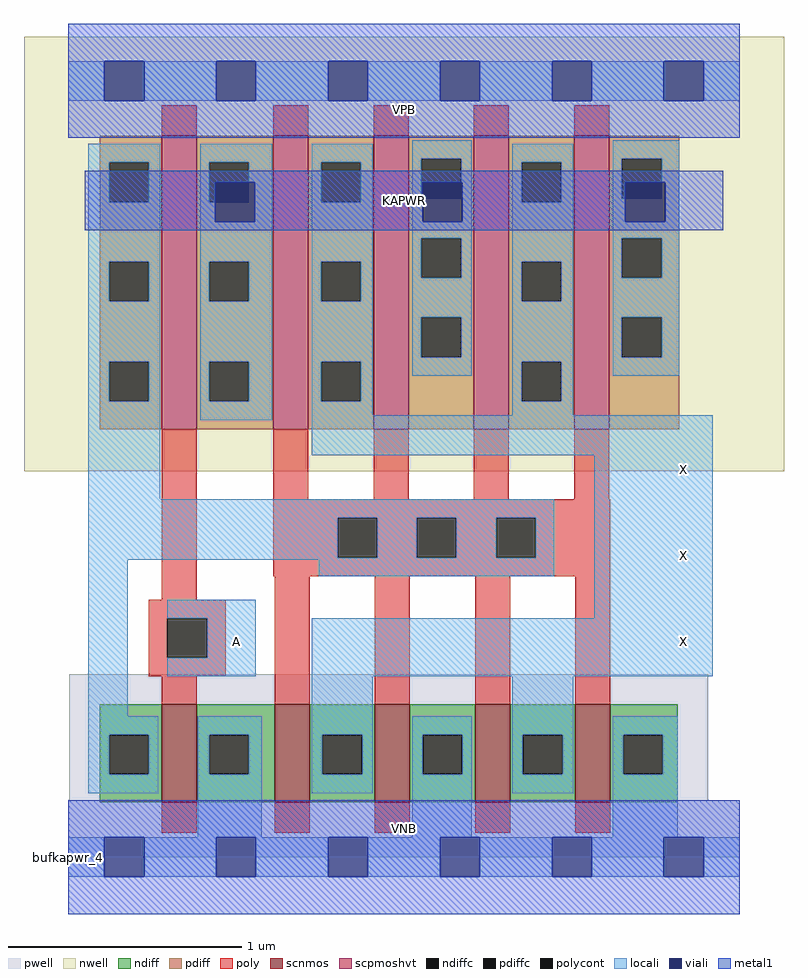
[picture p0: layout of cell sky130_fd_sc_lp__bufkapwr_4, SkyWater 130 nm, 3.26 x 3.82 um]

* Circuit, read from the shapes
.subckt sky130_fd_sc_lp__bufkapwr_4 A KAPWR VGND VNB VPB VPWR X
XM1 VGND A n1 VNB sky130_fd_pr__nfet_01v8 w=0.42 l=0.15
XM2 X n1 VGND VNB sky130_fd_pr__nfet_01v8 w=0.42 l=0.15 m=4
XM3 KAPWR A n1 VPB sky130_fd_pr__pfet_01v8_hvt w=1.26 l=0.15
XM4 X n1 KAPWR VPB sky130_fd_pr__pfet_01v8_hvt w=1.26 l=0.15 m=4
.ends

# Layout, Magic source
magic
tech sky130A
magscale 1 2
<< nwell >>
rect -38 331 614 704
<< pwell >>
rect 1 49 549 157
rect 0 0 576 49
<< scnmos >>
rect 80 47 110 131
rect 177 47 207 131
rect 263 47 293 131
rect 349 47 379 131
rect 435 47 465 131
<< scpmoshvt >>
rect 80 367 110 619
rect 176 367 206 619
rect 262 367 292 619
rect 348 367 378 619
rect 434 367 464 619
<< ndiff >>
rect 27 105 80 131
rect 27 71 35 105
rect 69 71 80 105
rect 27 47 80 71
rect 110 105 177 131
rect 110 71 121 105
rect 155 71 177 105
rect 110 47 177 71
rect 207 105 263 131
rect 207 71 218 105
rect 252 71 263 105
rect 207 47 263 71
rect 293 105 349 131
rect 293 71 304 105
rect 338 71 349 105
rect 293 47 349 71
rect 379 105 435 131
rect 379 71 390 105
rect 424 71 435 105
rect 379 47 435 71
rect 465 105 523 131
rect 465 71 476 105
rect 510 71 523 105
rect 465 47 523 71
<< pdiff >>
rect 27 596 80 619
rect 27 562 35 596
rect 69 562 80 596
rect 27 511 80 562
rect 27 477 35 511
rect 69 477 80 511
rect 27 425 80 477
rect 27 391 35 425
rect 69 391 80 425
rect 27 367 80 391
rect 110 596 176 619
rect 110 562 121 596
rect 155 562 176 596
rect 110 511 176 562
rect 110 477 121 511
rect 155 477 176 511
rect 110 425 176 477
rect 110 391 121 425
rect 155 391 176 425
rect 110 367 176 391
rect 206 596 262 619
rect 206 562 217 596
rect 251 562 262 596
rect 206 511 262 562
rect 206 477 217 511
rect 251 477 262 511
rect 206 425 262 477
rect 206 391 217 425
rect 251 391 262 425
rect 206 367 262 391
rect 292 599 348 619
rect 292 565 303 599
rect 337 565 348 599
rect 292 531 348 565
rect 292 497 303 531
rect 337 497 348 531
rect 292 463 348 497
rect 292 429 303 463
rect 337 429 348 463
rect 292 367 348 429
rect 378 596 434 619
rect 378 562 389 596
rect 423 562 434 596
rect 378 511 434 562
rect 378 477 389 511
rect 423 477 434 511
rect 378 425 434 477
rect 378 391 389 425
rect 423 391 434 425
rect 378 367 434 391
rect 464 599 524 619
rect 464 565 475 599
rect 509 565 524 599
rect 464 531 524 565
rect 464 497 475 531
rect 509 497 524 531
rect 464 463 524 497
rect 464 429 475 463
rect 509 429 524 463
rect 464 367 524 429
<< ndiffc >>
rect 35 71 69 105
rect 121 71 155 105
rect 218 71 252 105
rect 304 71 338 105
rect 390 71 424 105
rect 476 71 510 105
<< pdiffc >>
rect 35 562 69 596
rect 35 477 69 511
rect 35 391 69 425
rect 121 562 155 596
rect 121 477 155 511
rect 121 391 155 425
rect 217 562 251 596
rect 217 477 251 511
rect 217 391 251 425
rect 303 565 337 599
rect 303 497 337 531
rect 303 429 337 463
rect 389 562 423 596
rect 389 477 423 511
rect 389 391 423 425
rect 475 565 509 599
rect 475 497 509 531
rect 475 429 509 463
<< poly >>
rect 80 619 110 645
rect 176 619 206 645
rect 262 619 292 645
rect 348 619 378 645
rect 434 619 464 645
rect 80 221 110 367
rect 176 307 206 367
rect 262 307 292 367
rect 348 307 378 367
rect 434 307 464 367
rect 176 291 465 307
rect 176 257 231 291
rect 265 257 299 291
rect 333 257 367 291
rect 401 257 465 291
rect 176 241 465 257
rect 69 205 135 221
rect 69 171 85 205
rect 119 171 135 205
rect 69 155 135 171
rect 80 131 110 155
rect 177 131 207 241
rect 263 131 293 241
rect 349 131 379 241
rect 435 131 465 241
rect 80 21 110 47
rect 177 21 207 47
rect 263 21 293 47
rect 349 21 379 47
rect 435 21 465 47
<< polycont >>
rect 231 257 265 291
rect 299 257 333 291
rect 367 257 401 291
rect 85 171 119 205
<< locali >>
rect 0 649 31 683
rect 65 649 127 683
rect 161 649 223 683
rect 257 649 319 683
rect 353 649 415 683
rect 449 649 511 683
rect 545 649 576 683
rect 17 596 79 612
rect 17 562 35 596
rect 69 562 79 596
rect 17 511 79 562
rect 17 477 35 511
rect 69 477 79 511
rect 17 425 79 477
rect 17 391 35 425
rect 69 391 79 425
rect 17 307 79 391
rect 113 596 175 612
rect 113 562 121 596
rect 155 579 175 596
rect 113 545 126 562
rect 160 545 175 579
rect 113 511 175 545
rect 113 477 121 511
rect 155 477 175 511
rect 113 425 175 477
rect 113 391 121 425
rect 155 391 175 425
rect 113 375 175 391
rect 209 596 261 612
rect 209 562 217 596
rect 251 562 261 596
rect 209 511 261 562
rect 209 477 217 511
rect 251 477 261 511
rect 209 425 261 477
rect 209 391 217 425
rect 251 391 261 425
rect 295 599 346 615
rect 295 565 303 599
rect 337 579 346 599
rect 295 545 304 565
rect 338 545 346 579
rect 295 531 346 545
rect 295 497 303 531
rect 337 497 346 531
rect 295 463 346 497
rect 295 429 303 463
rect 337 429 346 463
rect 295 413 346 429
rect 381 596 433 612
rect 381 562 389 596
rect 423 562 433 596
rect 381 511 433 562
rect 381 477 389 511
rect 423 477 433 511
rect 381 425 433 477
rect 209 379 261 391
rect 381 391 389 425
rect 423 391 433 425
rect 467 599 524 615
rect 467 565 475 599
rect 509 579 524 599
rect 467 545 478 565
rect 512 545 524 579
rect 467 531 524 545
rect 467 497 475 531
rect 509 497 524 531
rect 467 463 524 497
rect 467 429 475 463
rect 509 429 524 463
rect 467 413 524 429
rect 381 379 433 391
rect 209 345 553 379
rect 17 291 417 307
rect 17 257 231 291
rect 265 257 299 291
rect 333 257 367 291
rect 401 257 417 291
rect 17 255 417 257
rect 17 121 51 255
rect 215 241 417 255
rect 85 205 161 221
rect 451 205 553 345
rect 119 171 161 205
rect 85 155 161 171
rect 209 155 553 205
rect 17 105 77 121
rect 17 71 35 105
rect 69 71 77 105
rect 17 55 77 71
rect 111 105 166 121
rect 111 71 121 105
rect 155 71 166 105
rect 111 17 166 71
rect 209 105 261 155
rect 209 71 218 105
rect 252 71 261 105
rect 209 55 261 71
rect 295 105 346 121
rect 295 71 304 105
rect 338 71 346 105
rect 295 17 346 71
rect 381 105 433 155
rect 381 71 390 105
rect 424 71 433 105
rect 381 55 433 71
rect 467 105 523 121
rect 467 71 476 105
rect 510 71 523 105
rect 467 17 523 71
rect 0 -17 31 17
rect 65 -17 127 17
rect 161 -17 223 17
rect 257 -17 319 17
rect 353 -17 415 17
rect 449 -17 511 17
rect 545 -17 576 17
<< viali >>
rect 31 649 65 683
rect 127 649 161 683
rect 223 649 257 683
rect 319 649 353 683
rect 415 649 449 683
rect 511 649 545 683
rect 126 562 155 579
rect 155 562 160 579
rect 126 545 160 562
rect 304 565 337 579
rect 337 565 338 579
rect 304 545 338 565
rect 478 565 509 579
rect 509 565 512 579
rect 478 545 512 565
rect 31 -17 65 17
rect 127 -17 161 17
rect 223 -17 257 17
rect 319 -17 353 17
rect 415 -17 449 17
rect 511 -17 545 17
<< metal1 >>
rect 0 683 576 715
rect 0 649 31 683
rect 65 649 127 683
rect 161 649 223 683
rect 257 649 319 683
rect 353 649 415 683
rect 449 649 511 683
rect 545 649 576 683
rect 0 617 576 649
rect 14 579 562 589
rect 14 545 126 579
rect 160 545 304 579
rect 338 545 478 579
rect 512 545 562 579
rect 14 538 562 545
rect 0 17 576 49
rect 0 -17 31 17
rect 65 -17 127 17
rect 161 -17 223 17
rect 257 -17 319 17
rect 353 -17 415 17
rect 449 -17 511 17
rect 545 -17 576 17
rect 0 -49 576 -17
<< labels >>
flabel pwell s 0 0 576 49 0 FreeSans 200 0 0 0 VNB
port 4 nsew ground bidirectional
flabel nwell s 0 617 576 666 0 FreeSans 200 0 0 0 VPB
port 5 nsew power bidirectional
rlabel comment s 0 0 0 0 4 bufkapwr_4
flabel metal1 s 14 538 562 589 0 FreeSans 200 0 0 0 KAPWR
port 2 nsew power bidirectional
flabel metal1 s 0 617 576 666 0 FreeSans 340 0 0 0 VPWR
port 6 nsew power bidirectional
flabel metal1 s 0 0 576 49 0 FreeSans 340 0 0 0 VGND
port 3 nsew ground bidirectional
flabel locali s 127 168 161 202 0 FreeSans 340 0 0 0 A
port 1 nsew signal input
flabel locali s 511 316 545 350 0 FreeSans 340 0 0 0 X
port 7 nsew signal output
flabel locali s 511 242 545 276 0 FreeSans 340 0 0 0 X
port 7 nsew signal output
flabel locali s 511 168 545 202 0 FreeSans 340 0 0 0 X
port 7 nsew signal output
<< properties >>
string LEFsite unit
string LEFclass CORE
string FIXED_BBOX 0 0 576 666
string GDS_FILE $PDKPATH/libs.ref/sky130_fd_sc_lp/gds/sky130_fd_sc_lp.gds
string LEFsymmetry X Y
string GDS_END 2539740
string GDS_START 2533746
<< end >>
